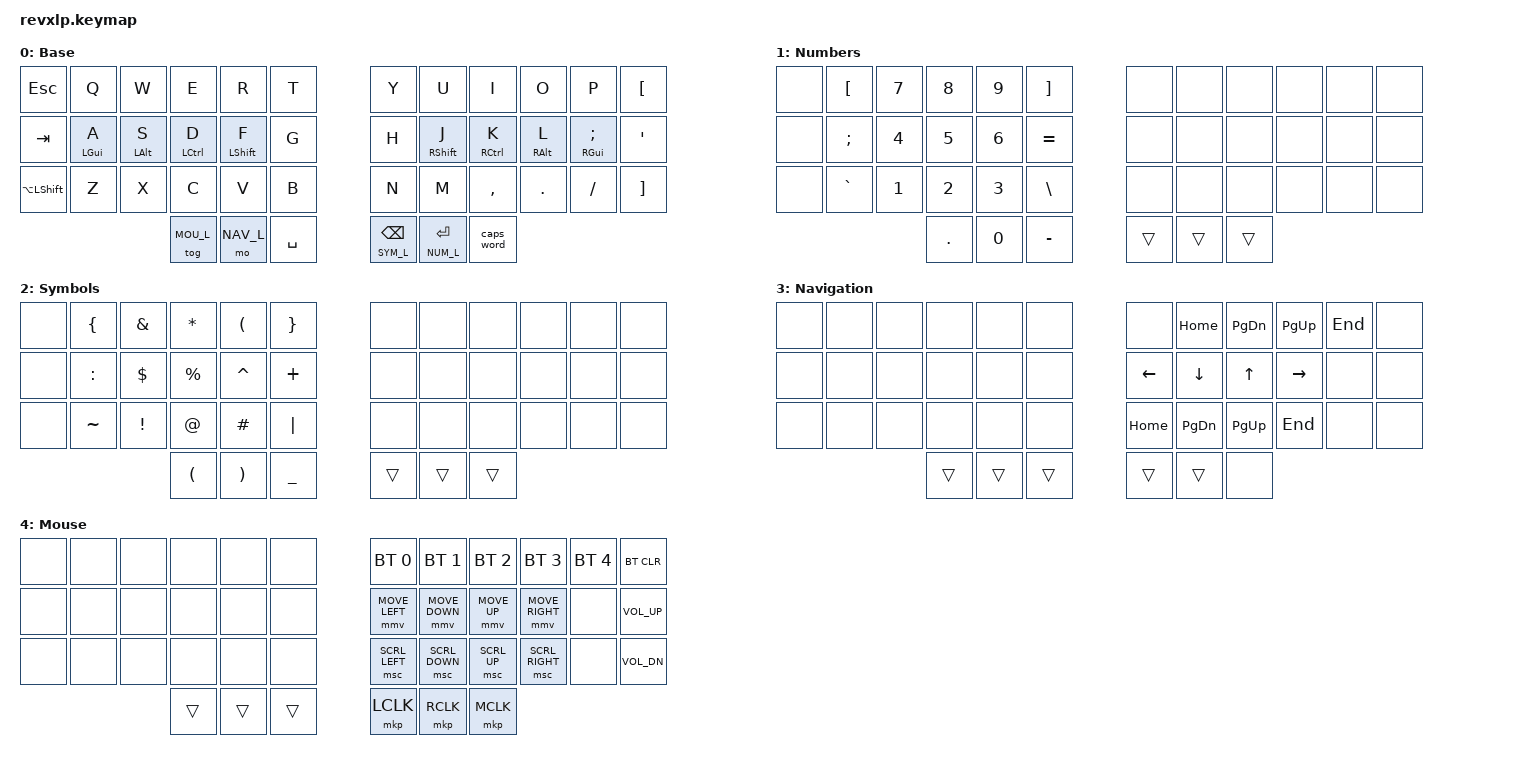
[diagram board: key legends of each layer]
/*
 * Copyright (c) 2020 The ZMK Contributors
 *
 * SPDX-License-Identifier: MIT
 */
#define ZMK_POINTING_DEFAULT_MOVE_VAL 1200  // Default is 600; increase for faster top speed
#define ZMK_POINTING_DEFAULT_SCRL_VAL 15    // Default is 10; increase for faster scrolling

#include <behaviors.dtsi>
#include <dt-bindings/zmk/keys.h>
#include <dt-bindings/zmk/pointing.h>
#include <dt-bindings/zmk/bt.h>

&mmv {
    time-to-max-speed-ms = <300>; // How fast it reaches top speed (lower = snappier)
    acceleration-exponent = <1>;  // 1 = linear ramp, 2 = exponential curve
};

#define NUM_L 1
#define SYM_L 2
#define NAV_L 3
#define MOU_L 4

/ {
    behaviors {
        hml: home_row_mod_left {
            compatible = "zmk,behavior-hold-tap";
            #binding-cells = <2>;
            flavor = "balanced";
            require-prior-idle-ms = <150>;
            tapping-term-ms = <280>;
            quick-tap-ms = <175>;
            bindings = <&kp>, <&kp>;
            hold-trigger-key-positions = <6 7 8 9 10 11 18 19 20 21 22 23 30 31 32 33 34 35 39 40 41>; 
            hold-trigger-on-release;
        };

        hmr: home_row_mod_right {
            compatible = "zmk,behavior-hold-tap";
            #binding-cells = <2>;
            flavor = "balanced";
            require-prior-idle-ms = <150>;
            tapping-term-ms = <280>;
            quick-tap-ms = <175>;
            bindings = <&kp>, <&kp>;
            hold-trigger-key-positions = <0 1 2 3 4 5 12 13 14 15 16 17 24 25 26 27 28 29 36 37 38>; 
            hold-trigger-on-release;
        };
        bs_l: layer_quick_tap {
            compatible = "zmk,behavior-hold-tap";
            #binding-cells = <2>;
            flavor = "hold-preferred";
            tapping-term-ms = <200>;
            quick-tap-ms = <200>;
            bindings = <&mo>, <&kp>;
        };
    };
    keymap {
        compatible = "zmk,keymap";

        qwerty_layer {
            display-name = "Base";
            bindings = <
       &kp ESC        &kp Q        &kp W        &kp E         &kp R          &kp T         &kp Y        &kp U            &kp I            &kp O         &kp P           &kp LBKT
       &kp TAB        &hml LGUI A   &hml LALT S   &hml LCTRL D   &mt LSHIFT F   &kp G         &kp H        &mt RSHIFT J     &hmr RCTRL K      &hmr RALT L    &hmr RGUI SEMI   &kp APOS
       &kp LA(LSHFT)  &kp Z        &kp X        &kp C         &kp V          &kp B         &kp N        &kp M            &kp COMMA        &kp DOT       &kp SLASH       &kp RBKT
                                                &tog MOU_L     &mo NAV_L      &kp SPACE     &bs_l SYM_L BSPC   &bs_l NUM_L ENTER  &caps_word
            >;
        };

        num_layer {
            display-name = "Numbers";
            bindings = <
       &none         &kp LBKT   &kp N7   &kp N8   &kp N9       &kp RBKT       &none        &none       &none   &none   &none    &none
       &none         &kp SEMI   &kp N4   &kp N5   &kp N6       &kp EQUAL      &none        &none       &none   &none   &none    &none
       &none         &kp GRAVE  &kp N1   &kp N2   &kp N3       &kp BSLH       &none        &none       &none   &none   &none    &none
                                         &kp DOT  &kp N0       &kp MINUS      &trans       &trans      &trans
            >;
        };

        sym_layer {
            display-name = "Symbols";
            bindings = <
       &none         &kp LBRC   &kp AMPS     &kp STAR    &kp LPAR       &kp RBRC      &none        &none       &none      &none     &none &none
       &none         &kp COLON  &kp DLLR     &kp PRCNT   &kp CARET      &kp PLUS      &none        &none       &none      &none     &none &none
       &none         &kp TILDE  &kp EXCL     &kp AT      &kp HASH       &kp PIPE      &none        &none       &none      &none     &none &none
                                             &kp LPAR    &kp RPAR       &kp UNDER     &trans       &trans      &trans
            >;
        };

        nav_layer {
            display-name = "Navigation";
            bindings = <
       &none         &none     &none     &none      &none          &none       &none           &kp HOME     &kp PG_DN   &kp PG_UP  &kp END     &none
       &none         &none     &none     &none      &none          &none       &kp LEFT        &kp DOWN     &kp UP      &kp RIGHT     &none    &none
       &none         &none     &none     &none      &none          &none       &kp HOME        &kp PG_DN    &kp PG_UP   &kp END       &none    &none
                                         &trans     &trans         &trans      &trans          &trans       &none
            >;
        };

        mou_layer {
            display-name = "Mouse";
            bindings = <
       &none         &none     &none     &none      &none          &none       &bt BT_SEL 0           &bt BT_SEL 1           &bt BT_SEL 2          &bt BT_SEL 3             &bt BT_SEL 4 &bt BT_CLR
       &none         &none     &none     &none      &none          &none       &mmv MOVE_LEFT  &mmv MOVE_DOWN  &mmv MOVE_UP   &mmv MOVE_RIGHT   &none &kp C_VOL_UP
       &none         &none     &none     &none      &none          &none       &msc SCRL_LEFT  &msc SCRL_DOWN  &msc SCRL_UP   &msc SCRL_RIGHT   &none &kp C_VOL_DN
                                         &trans     &trans         &trans      &mkp LCLK       &mkp RCLK       &mkp MCLK
            >;
        };
    };
};
